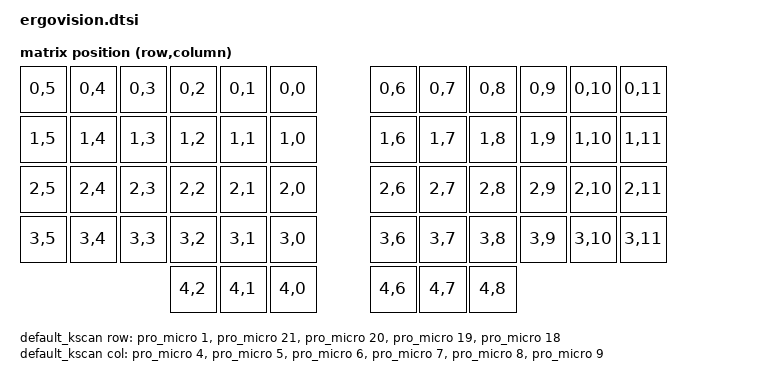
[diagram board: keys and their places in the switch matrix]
#include <dt-bindings/zmk/matrix_transform.h>

 / {
    chosen {
        zmk,kscan = &default_kscan;
        zmk,matrix_transform = &default_transform;
    };

    // Keyboard scanning matrix
    default_kscan: kscan {
        compatible = "zmk,kscan-gpio-matrix";
        label = "default_kscan";
        diode-direction = "col2row";

        row-gpios = < 
            &pro_micro 1 (GPIO_ACTIVE_HIGH | GPIO_PULL_DOWN)
            &pro_micro 21 (GPIO_ACTIVE_HIGH | GPIO_PULL_DOWN)
            &pro_micro 20 (GPIO_ACTIVE_HIGH | GPIO_PULL_DOWN)
            &pro_micro 19 (GPIO_ACTIVE_HIGH | GPIO_PULL_DOWN)
            &pro_micro 18 (GPIO_ACTIVE_HIGH | GPIO_PULL_DOWN)
        >;

        col-gpios = <
            &pro_micro 4 (GPIO_ACTIVE_HIGH | GPIO_PULL_DOWN)
            &pro_micro 5 (GPIO_ACTIVE_HIGH | GPIO_PULL_DOWN)
            &pro_micro 6 (GPIO_ACTIVE_HIGH | GPIO_PULL_DOWN)
            &pro_micro 7 (GPIO_ACTIVE_HIGH | GPIO_PULL_DOWN)
            &pro_micro 8 (GPIO_ACTIVE_HIGH | GPIO_PULL_DOWN)
            &pro_micro 9 (GPIO_ACTIVE_HIGH | GPIO_PULL_DOWN)
        >;
    };

    // Matrix transformation
    default_transform: matrix_transform {
        compatible = "zmk,matrix-transform";
        columns = <12>;
        rows = <5>;

        map = < 
            RC(0,5) RC(0,4) RC(0,3) RC(0,2) RC(0,1) RC(0,0)                RC(0,6) RC(0,7) RC(0,8) RC(0,9) RC(0,10) RC(0,11)
            RC(1,5) RC(1,4) RC(1,3) RC(1,2) RC(1,1) RC(1,0)                RC(1,6) RC(1,7) RC(1,8) RC(1,9) RC(1,10) RC(1,11)
            RC(2,5) RC(2,4) RC(2,3) RC(2,2) RC(2,1) RC(2,0)                RC(2,6) RC(2,7) RC(2,8) RC(2,9) RC(2,10) RC(2,11)
            RC(3,5) RC(3,4) RC(3,3) RC(3,2) RC(3,1) RC(3,0)                RC(3,6) RC(3,7) RC(3,8) RC(3,9) RC(3,10) RC(3,11)                        
                                    RC(4,2) RC(4,1) RC(4,0)                RC(4,6) RC(4,7) RC(4,8)
        >;
    };
 };

&pinctrl {
    /* configuration for i2c0 device, default state */
    i2c0_default: i2c0_default {
        group1 {
            psels = <NRF_PSEL(TWIM_SDA, 0, 7)>,
                <NRF_PSEL(TWIM_SCL, 0, 27)>;
        };
    };

    i2c0_sleep: i2c0_sleep {
        group1 {
            psels = <NRF_PSEL(TWIM_SDA, 0, 7)>,
                <NRF_PSEL(TWIM_SCL, 0, 27)>;
            low-power-enable;
        };
    };
};
    &i2c0 {
        status = "okay";
        sda-pin = <2>;  // Pin connected to SDA
        scl-pin = <3>;  // Pin connected to SCL

        left_glidepoint: glidepoint@0 {
            compatible = "cirque,pinnacle";
            reg = <1>;  // I2C address for the left trackpad
            status = "okay";
        };

        right_glidepoint: glidepoint@1 {
            compatible = "cirque,pinnacle";
            reg = <2>;  // I2C address for the right trackpad
            status = "okay";
        };
    };

    /{
        split_inputs {
        #address-cells = <1>;
        #size-cells = <0>;

        left_glidepoint_split: glidepoint_split@0 {
            compatible = "zmk,input-split";
            reg = <1>;
        };

        right_glidepoint_split: glidepoint_split@1 {
            compatible = "zmk,input-split";
            reg = <2>;
        };
    };
};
